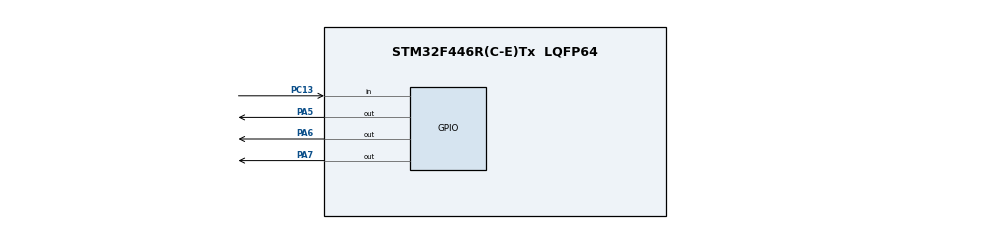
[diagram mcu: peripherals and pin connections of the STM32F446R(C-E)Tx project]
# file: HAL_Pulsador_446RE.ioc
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Mcu.Family=STM32F4
Mcu.Name=STM32F446R(C-E)Tx
Mcu.Package=LQFP64
NVIC.PriorityGroup=NVIC_PRIORITYGROUP_4
PA13.Mode=Serial_Wire
PA13.Signal=SYS_JTMS-SWDIO
PA14.Mode=Serial_Wire
PA14.Signal=SYS_JTCK-SWCLK
PA5.Signal=GPIO_Output
PA6.Signal=GPIO_Output
PA7.Signal=GPIO_Output
PC13.GPIO_PuPd=GPIO_NOPULL
PC13.Signal=GPIO_Input
ProjectManager.HeapSize=0x200
ProjectManager.StackSize=0x400
ProjectManager.TargetToolchain=STM32CubeIDE
RCC.CortexFreq_Value=16000000
RCC.USBFreq_Value=96000000
RCC.VCOOutputFreq_Value=192000000
board=custom

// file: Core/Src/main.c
/* USER CODE BEGIN Header */
/**
  ******************************************************************************
  * @file           : main.c
  * @brief          : Main program body
  ******************************************************************************
  * @attention
  *
  * Copyright (c) 2023 STMicroelectronics.
  * All rights reserved.
  *
  * This software is licensed under terms that can be found in the LICENSE file
  * in the root directory of this software component.
  * If no LICENSE file comes with this software, it is provided AS-IS.
  *
  ******************************************************************************
  */
/* USER CODE END Header */
#include "main.h"
#include "API_delay.h"

/* USER CODE BEGIN PD */
#define tiempo1 100
#define tiempo2 250
#define tiempo3 800

/* USER CODE END PD */

void SystemClock_Config(void);
static void MX_GPIO_Init(void);
void polling_button(void);

/* USER CODE BEGIN 0 */
delay_t delay1;
delay_t delay2;
delay_t delay3;
uint8_t LEDs[3]={GPIO_PIN_5,GPIO_PIN_6,GPIO_PIN_6};
/* USER CODE END 0 */

int main(void)
{

  /* MCU Configuration--------------------------------------------------------*/

  /* Reset of all peripherals, Initializes the Flash interface and the Systick. */
  HAL_Init();

  /* Configure the system clock */
  SystemClock_Config();

  /* Initialize all configured peripherals */
  MX_GPIO_Init();
  /* USER CODE BEGIN 2 */
  delayInit(&delay1 , tiempo1);
  delayInit(&delay2 , tiempo2);
  delayInit(&delay3 , tiempo3);

  /* USER CODE END 2 */

  /* Infinite loop */
  while (1)
  {

    /* USER CODE BEGIN 3 */
	  if(delayRead(&delay1) == true)
	  {
		  HAL_GPIO_TogglePin(GPIOA, GPIO_PIN_5);

	  }
	  else if(delayRead(&delay2) == true)
	  {
		  HAL_GPIO_TogglePin(GPIOA, GPIO_PIN_6);
	  }
	  else if(delayRead(&delay3) == true)
	  {
		  HAL_GPIO_TogglePin(GPIOA, GPIO_PIN_7);
	  }

  }
  /* USER CODE END 3 */
}

void SystemClock_Config(void)
{
  RCC_OscInitTypeDef RCC_OscInitStruct = {0};
  RCC_ClkInitTypeDef RCC_ClkInitStruct = {0};

  /** Configure the main internal regulator output voltage
  */
  __HAL_RCC_PWR_CLK_ENABLE();
  __HAL_PWR_VOLTAGESCALING_CONFIG(PWR_REGULATOR_VOLTAGE_SCALE3);

  /** Initializes the RCC Oscillators according to the specified parameters
  * in the RCC_OscInitTypeDef structure.
  */
  RCC_OscInitStruct.OscillatorType = RCC_OSCILLATORTYPE_HSI;
  RCC_OscInitStruct.HSIState = RCC_HSI_ON;
  RCC_OscInitStruct.HSICalibrationValue = RCC_HSICALIBRATION_DEFAULT;
  RCC_OscInitStruct.PLL.PLLState = RCC_PLL_NONE;
  if (HAL_RCC_OscConfig(&RCC_OscInitStruct) != HAL_OK)
  {
    Error_Handler();
  }

  /** Initializes the CPU, AHB and APB buses clocks
  */
  RCC_ClkInitStruct.ClockType = RCC_CLOCKTYPE_HCLK|RCC_CLOCKTYPE_SYSCLK
                              |RCC_CLOCKTYPE_PCLK1|RCC_CLOCKTYPE_PCLK2;
  RCC_ClkInitStruct.SYSCLKSource = RCC_SYSCLKSOURCE_HSI;
  RCC_ClkInitStruct.AHBCLKDivider = RCC_SYSCLK_DIV1;
  RCC_ClkInitStruct.APB1CLKDivider = RCC_HCLK_DIV1;
  RCC_ClkInitStruct.APB2CLKDivider = RCC_HCLK_DIV1;

  if (HAL_RCC_ClockConfig(&RCC_ClkInitStruct, FLASH_LATENCY_0) != HAL_OK)
  {
    Error_Handler();
  }
}

static void MX_GPIO_Init(void)
{
  GPIO_InitTypeDef GPIO_InitStruct = {0};

  /* GPIO Ports Clock Enable */
  __HAL_RCC_GPIOC_CLK_ENABLE();
  __HAL_RCC_GPIOA_CLK_ENABLE();

  /*Configure GPIO pin Output Level */
  HAL_GPIO_WritePin(GPIOA, GPIO_PIN_5|GPIO_PIN_6|GPIO_PIN_7, GPIO_PIN_RESET);

  /*Configure GPIO pin : PC13 */
  GPIO_InitStruct.Pin = GPIO_PIN_13;
  GPIO_InitStruct.Mode = GPIO_MODE_INPUT;
  GPIO_InitStruct.Pull = GPIO_NOPULL;
  HAL_GPIO_Init(GPIOC, &GPIO_InitStruct);

  /*Configure GPIO pins : PA5 PA6 PA7 */
  GPIO_InitStruct.Pin = GPIO_PIN_5|GPIO_PIN_6|GPIO_PIN_7;
  GPIO_InitStruct.Mode = GPIO_MODE_OUTPUT_PP;
  GPIO_InitStruct.Pull = GPIO_NOPULL;
  GPIO_InitStruct.Speed = GPIO_SPEED_FREQ_LOW;
  HAL_GPIO_Init(GPIOA, &GPIO_InitStruct);

}

void Error_Handler(void)
{
  __disable_irq();
  while (1)
  {
  }
}
